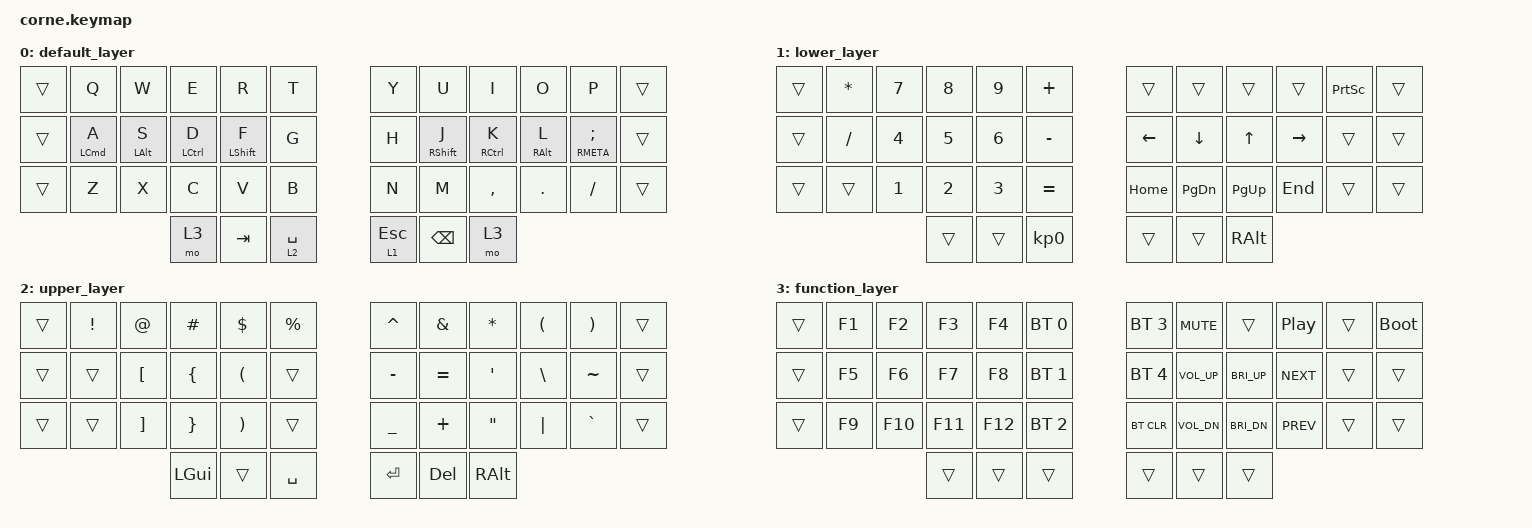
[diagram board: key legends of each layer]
/*
 * Copyright (c) 2020 The ZMK Contributors
 *
 * SPDX-License-Identifier: MIT
 */
/*  key matrix for corne 42 key layout
┌───┬───┬───┬───┬───┬───┐┌───┬───┬───┬───┬───┬───┐
│ 0 │ 1 │ 2 │ 3 │ 4 │ 5 ││ 6 │ 7 │ 8 │ 9 │10 │11 │
├───┼───┼───┼───┼───┼───┤├───┼───┼───┼───┼───┼───┤
│12 │13 │14 │15 │16 │17 ││18 │19 │20 │21 │22 │23 │
├───┼───┼───┼───┼───┼───┤├───┼───┼───┼───┼───┼───┤
│24 │25 │26 │27 │28 │29 ││30 │31 │32 │33 │34 │35 │
├───┼───┼───┼───┼───┼───┤├───┼───┼───┼───┼───┼───┤
│   │   │   │36 │37 │38 ││39 │40 │41 │   │   │   │
└───┴───┴───┴───┴───┴───┘└───┴───┴───┴───┴───┴───┘
*/

#include <behaviors.dtsi>
#include <dt-bindings/zmk/bt.h>
#include <dt-bindings/zmk/keys.h>

#define MAC 0
#define WIN 1
#define LWR 2
#define UPR 3
#define FUN 4

/ {
    behaviors {
        hrm: homerow_mods {
            compatible = "zmk,behavior-hold-tap";
            label = "HOMEROW_MODS";
            bindings = <&kp>, <&kp>;

            #binding-cells = <2>;
            tapping-term-ms = <150>;
            hold-trigger-key-positions = <0 1 2 3 4 5 6 7 8 9 10 11 12 13 14 15 16 19 20 21 22 17 18 23 24 25 26 27 28 29 30 31 32 33 34 35 36 37 38 39 40 41>;
            flavor = "tap-preferred";
        };

        hrs: homerow_shift {
            compatible = "zmk,behavior-hold-tap";
            label = "HOMEROW_SHIFT";
            bindings = <&kp>, <&kp>;

            #binding-cells = <2>;
            tapping-term-ms = <150>;
            hold-trigger-key-positions = <0 1 2 3 4 5 6 7 8 9 10 11 12 13 14 15 16 19 20 21 22 17 18 23 24 25 26 27 28 29 30 31 32 33 34 35 36 37 38 39 40 41>;
            flavor = "balanced";
        };
    };

    combos {
        compatible = "zmk,combos";

        // U + I + O -> CAPSLOCK

        combo_caps {
            timeout-ms = <50>;
            key-positions = <7 8 9>;
            bindings = <&kp CAPSLOCK>;
        };
    };

    conditional_layers {
        compatible = "zmk,conditional-layers";

        // LOWER + UPPER = FUNCTION LAYER
    };

    keymap {
        compatible = "zmk,keymap";

        default_layer {
            bindings = <
&trans  &kp Q        &kp W        &kp E         &kp R         &kp T          &kp Y         &kp U          &kp I         &kp O        &kp P            &trans
&trans  &hrm LCMD A  &hrm LALT S  &hrm LCTRL D  &hrs LSHFT F  &kp G          &kp H         &hrs RSHFT J   &hrm RCTRL K  &hrm RALT L  &hrm RMETA SEMI  &trans
&trans  &kp Z        &kp X        &kp C         &kp V         &kp B          &kp N         &kp M          &kp COMMA     &kp DOT      &kp FSLH         &trans
                                  &mo 3         &kp TAB       &lt 2 SPACE    &lt 1 ESCAPE  &kp BACKSPACE  &mo 3
            >;
        };

        lower_layer {
            bindings = <
&trans  &kp ASTERISK  &kp N7  &kp N8  &kp N9  &kp PLUS           &trans    &trans     &trans     &trans     &kp PRINTSCREEN  &trans
&trans  &kp SLASH     &kp N4  &kp N5  &kp N6  &kp MINUS          &kp LEFT  &kp DOWN   &kp UP     &kp RIGHT  &trans           &trans
&trans  &trans        &kp N1  &kp N2  &kp N3  &kp EQUAL          &kp HOME  &kp PG_DN  &kp PG_UP  &kp END    &trans           &trans
                              &trans  &trans  &kp KP_NUMBER_0    &trans    &trans     &kp RALT
            >;
        };

        upper_layer {
            bindings = <
&trans  &kp EXCL  &kp AT    &kp HASH  &kp DLLR  &kp PRCNT    &kp CARET  &kp AMPS   &kp ASTRK          &kp LPAR       &kp RPAR   &trans
&trans  &trans    &kp LBKT  &kp LBRC  &kp LPAR  &trans       &kp MINUS  &kp EQUAL  &kp SQT            &kp BACKSLASH  &kp TILDE  &trans
&trans  &trans    &kp RBKT  &kp RBRC  &kp RPAR  &trans       &kp UNDER  &kp PLUS   &kp DOUBLE_QUOTES  &kp PIPE       &kp GRAVE  &trans
                            &kp LGUI  &trans    &kp SPACE    &kp RET    &kp DEL    &kp RALT
            >;
        };

        function_layer {
            bindings = <
&trans  &kp F1  &kp F2   &kp F3   &kp F4   &bt BT_SEL 0    &bt BT_SEL 3  &kp C_MUTE    &trans        &kp C_PP    &trans  &bootloader
&trans  &kp F5  &kp F6   &kp F7   &kp F8   &bt BT_SEL 1    &bt BT_SEL 4  &kp C_VOL_UP  &kp C_BRI_UP  &kp C_NEXT  &trans  &trans
&trans  &kp F9  &kp F10  &kp F11  &kp F12  &bt BT_SEL 2    &bt BT_CLR    &kp C_VOL_DN  &kp C_BRI_DN  &kp C_PREV  &trans  &trans
                         &trans   &trans   &trans          &trans        &trans        &trans
            >;
        };
    };
};
